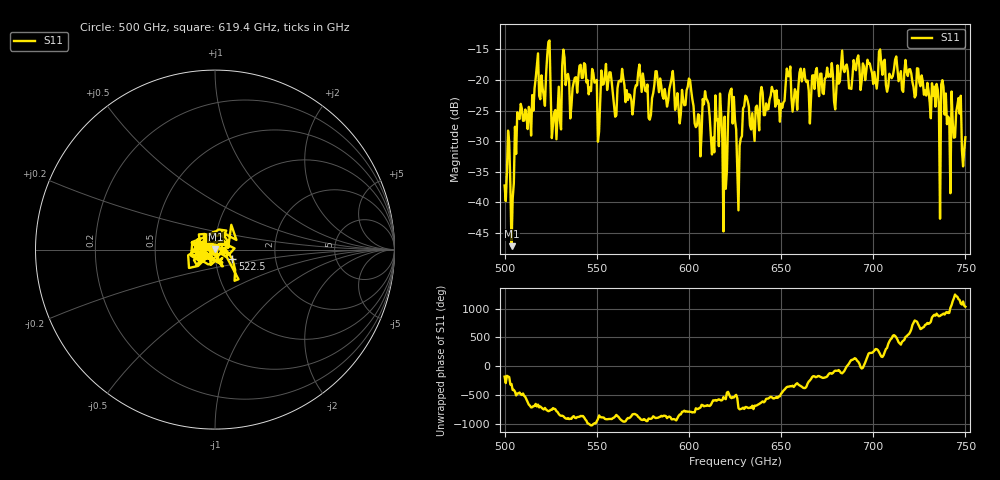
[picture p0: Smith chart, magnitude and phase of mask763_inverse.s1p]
!Created with skrf (http://scikit-rf.org).
# GHz S MA R 50.0
!freq magS11 angS11
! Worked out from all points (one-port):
!   401 points, 500 GHz to 750 GHz, reference 50 ohm
!   lowest |S11| = -47.2 dB at 503.8 GHz (marker M1), VSWR 1.01, Z = 50.3 + j0.352 ohm
!   |S11| at or under -10 dB: start of sweep to end of sweep
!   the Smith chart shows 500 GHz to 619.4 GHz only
!   S11 on the Smith chart (normalised r, x): 500 GHz: 0.97, -0.00; 522.5 GHz: 1.21, -0.13; 619.4 GHz: 0.91, +0.03
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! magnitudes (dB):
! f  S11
! 500 GHz  -37.3
! 503.8 GHz  -47.2
! 508.1 GHz  -26.4
! 522.5 GHz  -19.1
! 523.8 GHz  -13.8
! 526.9 GHz  -25.4
! 531.2 GHz  -17.6
! 562.5 GHz  -20.1
! 593.8 GHz  -22.2
! 600 GHz  -19.8
! 605.6 GHz  -25.8
! 609.4 GHz  -23.0
! 612.5 GHz  -32.2
! 616.9 GHz  -22.2
! 619.4 GHz  -26.0
! 622.5 GHz  -21.7
! 625 GHz  -26.6
! 627.5 GHz  -30.7
! 630.6 GHz  -22.6
! 634.4 GHz  -25.4
! 656.2 GHz  -25.2
! 687.5 GHz  -21.3
! 718.8 GHz  -19.3
! 735 GHz  -21.6
! 738.1 GHz  -21.1
! 743.1 GHz  -26.9
! 746.2 GHz  -22.9
! 750 GHz  -29.4
